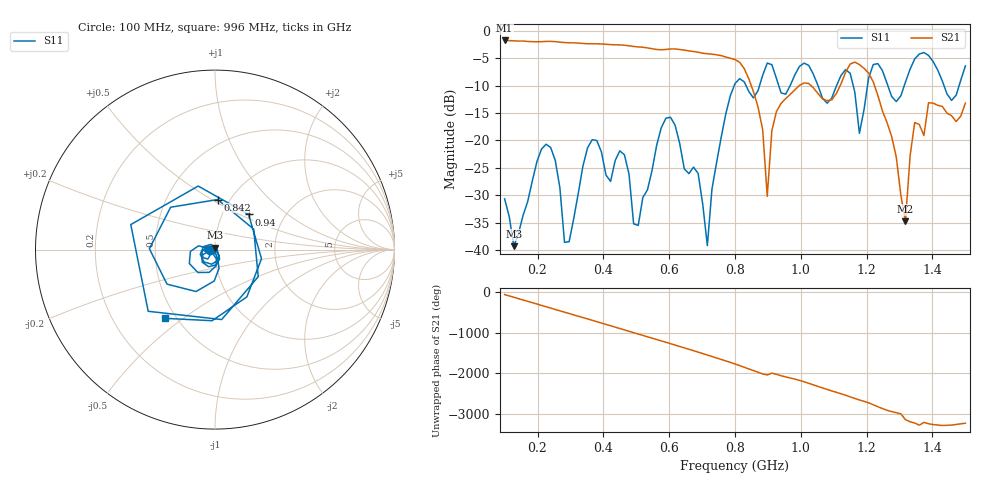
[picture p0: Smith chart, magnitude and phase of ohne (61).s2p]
! NanoVNA-App
! Date: 2025-09-26 09:55:52
! Start: 100MHz Stop: 1,5GHz Points: 101
! S-Parameter data: F S11 S21 S12 S22
# Hz S RI R 50
!  Frequency  S11_Real  S11_Imag  S21_Real  S21_Imag  S12_Real  S12_Imag  S22_Real  S22_Imag
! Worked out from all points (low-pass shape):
!   101 points, 100 MHz to 1.5 GHz, reference 50 ohm
!   highest |S21| = -1.79 dB at 100 MHz (marker M1); lowest = -34.7 dB at 1.318 GHz (marker M2)
!   |S21| within 3 dB of the highest: start of sweep to 771.2 MHz
!   lowest |S11| = -39.2 dB at 128 MHz (marker M3), VSWR 1.02, Z = 50.3 + j1.06 ohm
!   |S11| at or under -10 dB: start of sweep to 797.7 MHz; 833.4 MHz to 874.7 MHz (41.26 MHz wide, 4.83 % of centre); 1.052 GHz to 1.109 GHz (56.67 MHz wide, 5.24 % of centre)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
!   S12 and S22 are empty: the file has one direction only
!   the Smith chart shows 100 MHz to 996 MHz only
!   S11 on the Smith chart (normalised r, x): 100 MHz: 0.94, -0.01; 842 MHz: 0.88, +0.53; 940 MHz: 1.32, +0.56; 996 MHz: 0.44, -0.43
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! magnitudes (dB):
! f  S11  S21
! 100 MHz  -30.6  -1.8
! 128 MHz  -39.2  -1.9
! 212 MHz  -21.6  -2.0
! 282 MHz  -38.6  -2.2
! 338 MHz  -24.6  -2.3
! 464 MHz  -22.6  -2.7
! 506 MHz  -35.5  -3.0
! 576 MHz  -17.7  -3.5
! 688 MHz  -26.0  -3.9
! 716 MHz  -39.1  -4.2
! 800 MHz  -9.6  -5.3
! 842 MHz  -11.1  -8.8
! 898 MHz  -5.9  -30.2
! 940 MHz  -11.3  -13.2
! 996 MHz  -6.5  -10.0
! 1.038 GHz  -7.9  -10.4
! 1.178 GHz  -18.7  -6.2
! 1.22 GHz  -6.2  -9.3
! 1.276 GHz  -12.0  -19.3
! 1.318 GHz  -9.4  -34.7
! 1.346 GHz  -5.2  -16.7
! 1.5 GHz  -6.4  -13.2
